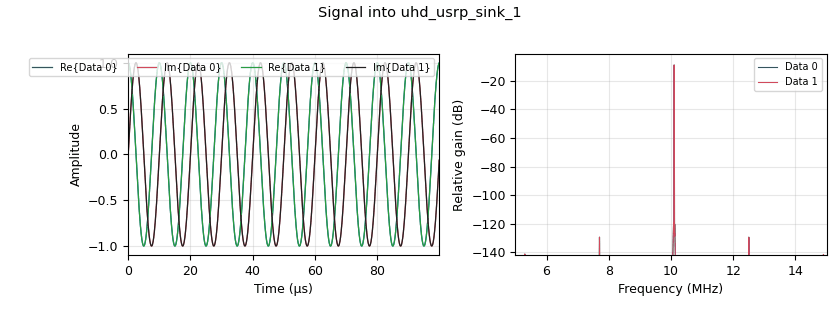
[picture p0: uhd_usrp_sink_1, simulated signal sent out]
<?xml version='1.0' encoding='utf-8'?>
<?grc format='1' created='3.7.11'?>
<flow_graph>
<block>
<key>options</key>
<param><key>id</key><value>phase_difference_x3x0_example</value></param>
<param><key>generate_options</key><value>qt_gui</value></param>
</block>
<block>
<key>variable</key>
<param><key>id</key><value>baseband</value></param>
<param><key>_enabled</key><value>0</value></param>
<param><key>value</key><value>3e9</value></param>
</block>
<block>
<key>variable_qtgui_range</key>
<param><key>id</key><value>rx_base</value></param>
<param><key>value</key><value>10e6</value></param>
<param><key>orient</key><value>Qt.Horizontal</value></param>
<param><key>start</key><value>10e6</value></param>
<param><key>step</key><value>50e6</value></param>
<param><key>stop</key><value>6e9</value></param>
</block>
<block>
<key>variable</key>
<param><key>id</key><value>samp_rate</value></param>
<param><key>value</key><value>10e6</value></param>
</block>
<block>
<key>variable_qtgui_range</key>
<param><key>id</key><value>tx_base</value></param>
<param><key>value</key><value>10e6</value></param>
<param><key>orient</key><value>Qt.Horizontal</value></param>
<param><key>start</key><value>10e6</value></param>
<param><key>step</key><value>50e6</value></param>
<param><key>stop</key><value>6e9</value></param>
</block>
<block>
<key>analog_sig_source_x</key>
<param><key>id</key><value>analog_sig_source_x_1</value></param>
<param><key>amp</key><value>1</value></param>
<param><key>freq</key><value>100e3</value></param>
<param><key>offset</key><value>0</value></param>
<param><key>type</key><value>complex</value></param>
<param><key>samp_rate</key><value>samp_rate</value></param>
<param><key>waveform</key><value>analog.GR_COS_WAVE</value></param>
</block>
<block>
<key>qtgui_time_sink_x</key>
<param><key>id</key><value>qtgui_time_sink_x_0</value></param>
<param><key>color1</key><value>"blue"</value></param>
<param><key>label1</key><value></value></param>
<param><key>size</key><value>1024</value></param>
<param><key>srate</key><value>samp_rate</value></param>
<param><key>type</key><value>float</value></param>
</block>
<block>
<key>qtgui_time_sink_x</key>
<param><key>id</key><value>qtgui_time_sink_x_1</value></param>
<param><key>_enabled</key><value>0</value></param>
<param><key>color1</key><value>"blue"</value></param>
<param><key>label1</key><value></value></param>
<param><key>color2</key><value>"red"</value></param>
<param><key>label2</key><value></value></param>
<param><key>color3</key><value>"green"</value></param>
<param><key>label3</key><value></value></param>
<param><key>color4</key><value>"black"</value></param>
<param><key>label4</key><value></value></param>
<param><key>nconnections</key><value>2</value></param>
<param><key>size</key><value>1024</value></param>
<param><key>srate</key><value>samp_rate</value></param>
<param><key>type</key><value>complex</value></param>
</block>
<block>
<key>uhd_usrp_sink</key>
<param><key>id</key><value>uhd_usrp_sink_1</value></param>
<param><key>ant0</key><value></value></param>
<param><key>center_freq0</key><value>tx_base</value></param>
<param><key>norm_gain0</key><value>False</value></param>
<param><key>gain0</key><value>15</value></param>
<param><key>ant1</key><value></value></param>
<param><key>center_freq1</key><value>tx_base</value></param>
<param><key>norm_gain1</key><value>False</value></param>
<param><key>gain1</key><value>15</value></param>
<param><key>clock_rate</key><value>0.0</value></param>
<param><key>dev_addr</key><value>"addr=192.168.10.2"</value></param>
<param><key>dev_args</key><value>""</value></param>
<param><key>type</key><value>fc32</value></param>
<param><key>sd_spec0</key><value>"A:0 B:0"</value></param>
<param><key>nchan</key><value>2</value></param>
<param><key>samp_rate</key><value>samp_rate</value></param>
<param><key>hide_cmd_port</key><value>False</value></param>
<param><key>hide_lo_controls</key><value>True</value></param>
<param><key>sync</key><value></value></param>
<param><key>len_tag_name</key><value></value></param>
</block>
<block>
<key>uhd_usrp_source</key>
<param><key>id</key><value>uhd_usrp_source_0</value></param>
<param><key>ant0</key><value></value></param>
<param><key>center_freq0</key><value>rx_base</value></param>
<param><key>dc_offs_enb0</key><value>""</value></param>
<param><key>iq_imbal_enb0</key><value>""</value></param>
<param><key>norm_gain0</key><value>False</value></param>
<param><key>gain0</key><value>15</value></param>
<param><key>ant1</key><value></value></param>
<param><key>center_freq1</key><value>rx_base</value></param>
<param><key>dc_offs_enb1</key><value>""</value></param>
<param><key>iq_imbal_enb1</key><value>""</value></param>
<param><key>norm_gain1</key><value>False</value></param>
<param><key>gain1</key><value>15</value></param>
<param><key>clock_rate</key><value>0.0</value></param>
<param><key>dev_addr</key><value>"addr=192.168.10.2"</value></param>
<param><key>dev_args</key><value>""</value></param>
<param><key>sd_spec0</key><value>"A:0 B:0"</value></param>
<param><key>nchan</key><value>2</value></param>
<param><key>type</key><value>fc32</value></param>
<param><key>samp_rate</key><value>samp_rate</value></param>
<param><key>hide_cmd_port</key><value>False</value></param>
<param><key>hide_lo_controls</key><value>True</value></param>
<param><key>sync</key><value></value></param>
</block>
<block>
<key>usrptest_phase_calc_ccf</key>
<param><key>id</key><value>usrptest_phase_calc_ccf_0</value></param>
</block>
<connection><source_block_id>analog_sig_source_x_1</source_block_id><sink_block_id>uhd_usrp_sink_1</sink_block_id><source_key>0</source_key><sink_key>0</sink_key></connection>
<connection><source_block_id>analog_sig_source_x_1</source_block_id><sink_block_id>uhd_usrp_sink_1</sink_block_id><source_key>0</source_key><sink_key>1</sink_key></connection>
<connection><source_block_id>uhd_usrp_source_0</source_block_id><sink_block_id>qtgui_time_sink_x_1</sink_block_id><source_key>0</source_key><sink_key>0</sink_key></connection>
<connection><source_block_id>uhd_usrp_source_0</source_block_id><sink_block_id>usrptest_phase_calc_ccf_0</sink_block_id><source_key>0</source_key><sink_key>0</sink_key></connection>
<connection><source_block_id>uhd_usrp_source_0</source_block_id><sink_block_id>qtgui_time_sink_x_1</sink_block_id><source_key>1</source_key><sink_key>1</sink_key></connection>
<connection><source_block_id>uhd_usrp_source_0</source_block_id><sink_block_id>usrptest_phase_calc_ccf_0</sink_block_id><source_key>1</source_key><sink_key>1</sink_key></connection>
<connection><source_block_id>usrptest_phase_calc_ccf_0</source_block_id><sink_block_id>qtgui_time_sink_x_0</sink_block_id><source_key>0</source_key><sink_key>0</sink_key></connection>
</flow_graph>
